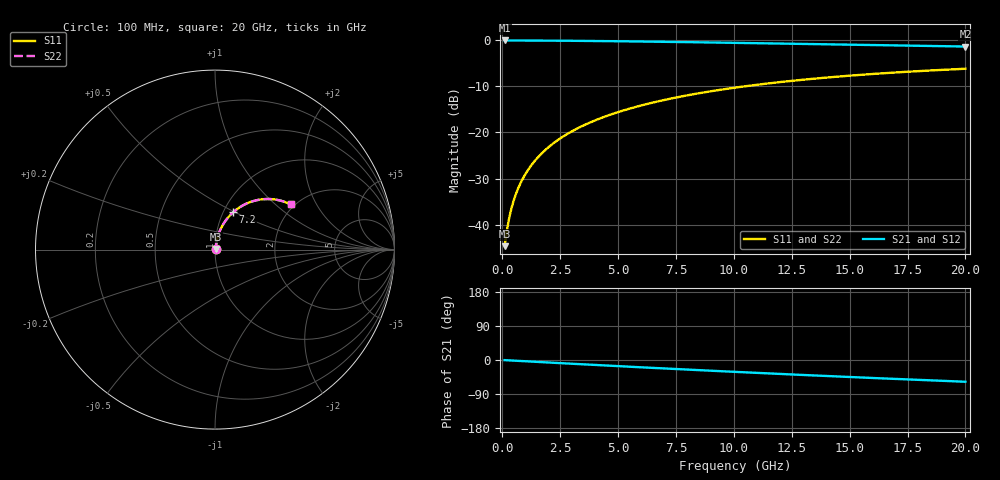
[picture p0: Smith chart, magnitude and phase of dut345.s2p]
! Touchstone file exported from HFSS 2026.1.0
!  File:  C:/ffzhzh/LocalFiles/Ansys_Project_Files/temp_train_BSMRDL_345_1783011302_46388.aedt
!  Generated:  12:56:39 AM Jul  3, 2026
!  Design:  BSMRDL
!  Project:  temp_train_BSMRDL_345_1783011302_46388
! Variables:
!  h_bsmrdl = 4.99um
!  h_ox = 20um
!  h_rdl = 5um
!  h_sub = 80um
!  h_tmrdl = 5um
!  h_tsv = 80um
!  h_via = 3um
!  l_bsmrdl = 908.87um
!  l_sub = 1308.87um
!  l_tmrdl = 200um
!  m_sub = 200um
!  pitch = 39.03um
!  r_tsv = 6um
!  s_tmrdl = 10um
!  w_bsmrdl = 14.51um
!  w_sub = 500um
!  w_tmrdl = 12um
!  x_tsv_center1 = 206um
!  x_tsv_center2 = 1129.38um
!  x_tsv_center3 = 1341.38um
!  x_tsv_center4 = 2264.76um
!  x_tsv_center5 = 2476.76um
!  x_tsv_center6 = 3400.14um
# GHz S MA R 50.000000
! Terminal data exported
! Port[1] = BSM_RDL1_1_T1
! Port[2] = BSM_RDL1_1_T2
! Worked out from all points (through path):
!   200 points, 100 MHz to 20 GHz, reference 50 ohm
!   highest |S21| = -0.04 dB at 100 MHz (marker M1); lowest = -1.4 dB at 20 GHz (marker M2)
!   group delay of S21, straight-line fit = 7.96 ps
!   lowest |S11| = -44.7 dB at 100 MHz (marker M3), VSWR 1.01, Z = 50.5 + j0.371 ohm
!   |S11| at or under -10 dB: start of sweep to 10.46 GHz
!   |S22| runs from -44.7 to -6.2 dB; largest |S21 - S12| = 3.1e-15
!   S11 on the Smith chart (normalised r, x): 100 MHz: 1.01, +0.01; 7.2 GHz: 1.11, +0.49; 20 GHz: 1.91, +1.26
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0.1  0.005832 39.1  0.9955 -0.3  0.9955 -0.3  0.005832 39.1
! Gamma 0 0 0 0
! Port Impedance 50 0 50 0
0.2  0.008686 56.9  0.9953 -0.7  0.9953 -0.7  0.008686 56.9
0.3  0.01189 65.0  0.9951 -1.0  0.9951 -1.0  0.01189 65.0
0.4  0.01517 69.5  0.9949 -1.4  0.9949 -1.4  0.01517 69.5
0.5  0.0185 72.4  0.9948 -1.7  0.9948 -1.7  0.0185 72.4
0.6  0.02185 74.3  0.9946 -2.0  0.9946 -2.0  0.02185 74.3
0.8  0.02859 76.6  0.9943 -2.7  0.9943 -2.7  0.02859 76.6
1.1  0.03878 78.1  0.9937 -3.7  0.9937 -3.7  0.03878 78.1
1.5  0.05238 78.6  0.9928 -5.0  0.9928 -5.0  0.05238 78.6
1.8  0.06255 78.4  0.9919 -6.0  0.9919 -6.0  0.06255 78.4
2.1  0.07267 78.0  0.991 -6.9  0.991 -6.9  0.07267 78.0
2.7  0.09271 76.7  0.9886 -8.9  0.9886 -8.9  0.0927 76.7
3.5  0.1189 74.7  0.9849 -11.5  0.9849 -11.5  0.1189 74.7
4.2  0.1412 72.7  0.9811 -13.7  0.9811 -13.7  0.1412 72.7
5  0.1661 70.4  0.9763 -16.2  0.9763 -16.2  0.1661 70.4
6.8  0.2195 65.2  0.964 -21.7  0.964 -21.7  0.2195 65.2
7.2  0.2308 64.1  0.961 -22.9  0.961 -22.9  0.2308 64.1
8.6  0.269 60.1  0.9501 -27.1  0.9501 -27.1  0.269 60.1
10.1  0.3074 56.0  0.9377 -31.5  0.9377 -31.5  0.3074 56.0
13.4  0.3819 47.1  0.9091 -40.6  0.9091 -40.6  0.3819 47.1
16.7  0.4428 38.8  0.8809 -49.3  0.8809 -49.3  0.4428 38.8
20  0.4909 30.9  0.8553 -57.4  0.8553 -57.4  0.4908 30.8
